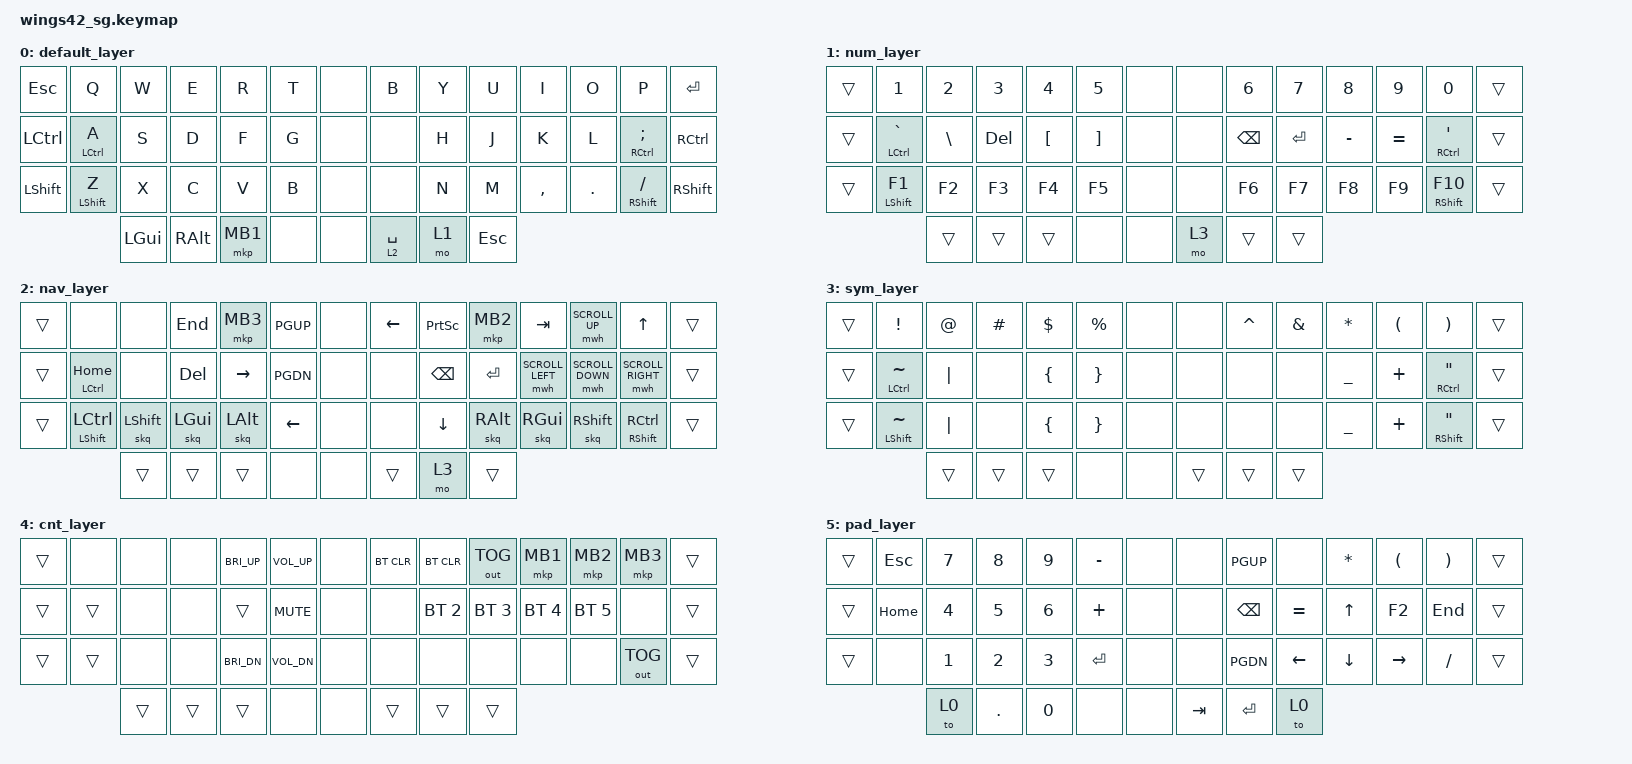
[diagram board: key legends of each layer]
/*
 * Copyright (c) 2022 The ZMK Contributors
 *
 * SPDX-License-Identifier: MIT
 */

#include <behaviors.dtsi>
#include <dt-bindings/zmk/keys.h>
#include <dt-bindings/zmk/bt.h>
#include <dt-bindings/zmk/mouse.h>
#include <dt-bindings/zmk/outputs.h>

&mwh {
	acceleration-exponent=<1>;
};

/ {
	behaviors {
		// lh_pht: left_hand_positional_hold_tap {
		//     compatible = "zmk,behavior-hold-tap";
		//     label = "LEFT_POSITIONAL_HOLD_TAP";
		//     #binding-cells = <2>;
		//     flavor = "tap-unless-interrupted";
		//     tapping-term-ms = <100>;                        // <---[[produces tap if held longer than tapping-term-ms]]
		//     quick-tap-ms = <200>;
		//     bindings = <&kp>, <&kp>;
		//     hold-trigger-key-positions = <5 6 7 8 9 10>;    // <---[[right-hand keys]]
		// };
		// hm: homerow_mods {
		// 	compatible = "zmk,behavior-hold-tap";
		// 	label = "HOMEROW_MODS";
		// 	#binding-cells = <2>;
		// 	tapping-term-ms = <150>;
		// 	quick-tap-ms = <0>;
		// 	flavor = "tap-preferred";
		// 	bindings = <&kp>, <&kp>;
		// };
		// hm: homerow_mods {
		// 	compatible = "zmk,behavior-hold-tap";
		// 	label = "ControlKeyHoldTap";
		// 	#binding-cells = <2>;
		// 	tapping-term-ms = <200>;
		// 	quick-tap-ms = <125>;
		// 	flavor = "tap-preferred";
		// 	bindings = <&kp>, <&kp>;
		// };
		hm: balanced_homerow_mods {
			compatible = "zmk,behavior-hold-tap";
			label = "HOMEROW_MODS";
			#binding-cells = <2>;
			tapping-term-ms = <1000>;    // <---[[moderate duration]]
			//quick-tap-ms = <125>;
			flavor = "balanced";
			bindings = <&kp>, <&kp>;
		};
		skq: sticky_key_quick_release {
			compatible = "zmk,behavior-sticky-key";
			label = "STICKY_KEY_QUICK_RELEASE";
			#binding-cells = <1>;
			bindings = <&kp>;
			release-after-ms = <1000>;
			quick-release;
		};
	};
	combos {
		compatible = "zmk,combos";
		// combo_mb2 {
		//  	timeout-ms = <50>;
		//  	key-positions = <3 4>;
		//  	bindings = <&mkp MB2>;
		// };
		// combo_lcontrol {
 		// 	timeout-ms = <100>;
 		// 	key-positions = <15 16>;
 		// 	bindings = <&kp LCTRL>;
 		// };
		// combo_mb1 {
		//  	timeout-ms = < 100>;
		//  	key-positions = <17 18>;
		//  	bindings = <&mkp MB1>;
		// };
		// combo_lshift {
		//  	timeout-ms = <100>;
		//  	key-positions = <29 30>;
		//  	bindings = <&kp LSHFT>;
		// };
		// combo_rshift {
		//  	timeout-ms = <100>;
		//  	key-positions = <39 40>;
		//  	bindings = <&kp RSHFT>;
		// };
	 	// combo_rcontrol {
	 	// 	timeout-ms = <100>;
	 	// 	key-positions = <25 26>;
	 	// 	bindings = <&kp RCTRL>;
	 	// };
	 	// combo_mb3 {
	 	// 	timeout-ms = <50>;
	 	// 	key-positions = <31 32>;
	 	// 	bindings = <&mkp MB3>;
	 	// };
		// combo_num {
		// 	timeout-ms = <50>;
		// 	key-positions = <31 32>;
		// 	bindings = <&mkp MB3>;
		// 	};
	 	// combo_LGUI {
	 	// 	timeout-ms = <100>;
	 	// 	key-positions = <42 43>;
	 	// 	bindings = <&kp LGUI>;
	 	// };
	 	combo_l5 {
	 		timeout-ms = <100>;
	 		key-positions = <47 49>;
	 		bindings = <&mo 4>;
	 	};
	 	// combo_lbtl {
	 	// 	timeout-ms = <100>;
	 	// 	key-positions = <42 43 44>;
	 	// 	bindings = <&bootloader>;
	 	// };
	 	combo_rbtl {
	 		timeout-ms = <100>;
	 		key-positions = <47 48 49>;
	 		bindings = <&bootloader>;
	 	};
	};
	keymap {
		compatible = "zmk,keymap";
		default_layer { /* Default */	/* 0 */
//	---------------------------------------------------------------------------------------------------------	---------------------------------------------------------------------------------------------------------
//	|	TAB	|	Q	|	W	|	E	|	R	|	T	|	|	|	|	Y	|	U	|	I	|	O	|	P |	[	|
//	|   CTRL+ESC	|	A	|	S	|	D	|	F	|	G	|	|	|	|	H	|	J	|	K	|	L	|	;	|	'	|
//	|   SHFT+ESC	|	Z	|	X	|	C	|	V	|	B	|	|	|   B	|	N	|	M	|	,	|	.	|	/	|  SHIFT+Enter	|
//	------------------------------------------------|       GUI	|       ALT	|	MB1	|-------	--------|   RET lower	|  SPACE raise	|    ESC super	|------------------------------------------------
//							-------------------------------------------------			-------------------------------------------------
			bindings = <
	&kp ESC		&kp Q		&kp W		&kp E		&kp R	 	&kp T		&none		&kp B	&kp Y		&kp U		&kp I		&kp O		&kp P		&kp RET
	&kp LCTRL	&hm LCTRL A	&kp S		&kp D		&kp F		&kp G		&none		&none	&kp H		&kp J		&kp K		&kp L		&hm RCTRL SEMI	&kp RCTRL
//	&kp LSHFT	&kp Z		&kp X		&kp C		&kp V		&kp B		&none		&none	&kp N		&kp M		&kp COMMA	&kp DOT		&kp FSLH	&kp RSHFT
	&kp LSHFT	&hm LSHFT Z	&kp X		&kp C		&kp V		&kp B		&none		&none	&kp N		&kp M		&kp COMMA	&kp DOT		&hm RSHFT FSLH	&kp RSHFT
//							&mt LSHFT TAB	&mt RCTRL ESC	&mkp MB1	&none		&none	&lt 2 SPACE	&lt 1 RET	&mt RALT ESC	
							&kp LGUI	&kp RALT	&mkp MB1	&none		&none	&lt 2 SPACE	&mo 1		&kp ESC
		>;
// Disable encoder 20220804 for measurement power consumption
//			sensor-bindings = <&inc_dec_kp UP DOWN>;
		};
	num_layer { /* number */	/* L1 */
			bindings = <
	&trans		&kp N1		&kp N2		&kp N3		&kp N4		&kp N5		&none		&none	&kp N6		&kp N7		&kp N8		&kp N9		&kp N0		&trans
//	&trans		&kp GRAVE	&kp BSLH	&kp DEL		&kp LBKT	&kp RBKT	&none		&none	&kp BSPC	&kp RET         &kp MINUS	&kp EQUAL	&kp SQT		&trans
	&trans		&hm LCTRL GRAVE	&kp BSLH	&kp DEL		&kp LBKT	&kp RBKT	&none		&none	&kp BSPC	&kp RET         &kp MINUS	&kp EQUAL	&hm RCTRL SQT	&trans
//	&trans		&kp F1		&kp F2		&kp F3		&kp F4		&kp F5		&none		&none	&kp F6		&kp F7		&kp F8		&kp F9		&kp F10		&trans
	&trans		&hm LSHFT F1	&kp F2		&kp F3		&kp F4		&kp F5		&none		&none	&kp F6		&kp F7		&kp F8		&kp F9		&hm RSHFT F10	&trans
							&trans		&trans		&trans		&none		&none	&mo 3		&trans		&trans
		>;
//			sensor-bindings = <&inc_dec_kp PAGE_UP PAGE_DOWN>;
		};
		nav_layer { /* Navigation */	/* L2 */
			bindings = <
	&trans		&none		&none		&kp END		&mkp MB3	&kp PGUP	&none		&kp LEFT &kp PSCRN	&mkp MB2	&kp TAB		&mwh SCROLL_UP	&kp UP		&trans
//	&trans		&kp HOME 	&none		&kp DEL		&kp RIGHT	&kp PGDN	&none		&none	&kp BSPC	&kp RET		&mwh SCROLL_LEFT &mwh SCROLL_DOWN &mwh SCROLL_RIGHT &trans	
	&trans		&hm LCTRL HOME 	&none		&kp DEL		&kp RIGHT	&kp PGDN	&none		&none	&kp BSPC	&kp RET		&mwh SCROLL_LEFT &mwh SCROLL_DOWN &mwh SCROLL_RIGHT &trans	
//	&trans		&skq LCTRL	&skq LSHFT	&skq LGUI	&skq LALT	&kp LEFT	&none		&none	&kp DOWN	&skq RALT 	&skq RGUI	&skq RSHFT	&skq RCTRL	&trans
	&trans		&hm LSHFT LCTRL	&skq LSHFT	&skq LGUI	&skq LALT	&kp LEFT	&none		&none	&kp DOWN	&skq RALT 	&skq RGUI	&skq RSHFT	&hm RSHFT RCTRL	&trans
						 	&trans		&trans		&trans		&none		&none	&trans		&mo 3		&trans
		>;
//			sensor-bindings = <&inc_dec_kp C_VOL_UP C_VOL_DN>;
		};
		sym_layer { /* Symbol */	/* L3 */
			bindings = <
	&trans		&kp EXCL	&kp AT		&kp HASH	&kp DLLR	&kp PRCNT	&none		&none	&kp CARET	&kp AMPS	&kp STAR	&kp LPAR	&kp RPAR	&trans
//	&trans		&kp GRAVE	&kp BSLH	&kp DEL		&kp LBKT	&kp RBKT	&none		&none	&kp BSPC	&kp RET		&kp MINUS	&kp EQUAL	&kp SQT		&trans
	&trans		&hm LCTRL TILDE	&kp PIPE	&none		&kp LBRC	&kp RBRC	&none		&none	&none		&none		&kp UNDER	&kp PLUS	&hm RCTRL DQT	&trans
//	&trans		&kp GRAVE	&kp BSLH	&kp DEL		&kp LBKT	&kp RBKT	&none		&none	&kp BSPC	&kp RET		&kp MINUS	&kp EQUAL	&kp SQT		&trans
	&trans		&hm LSHFT TILDE	&kp PIPE	&none		&kp LBRC	&kp RBRC	&none		&none	&none		&none		&kp UNDER	&kp PLUS	&hm RSHFT DQT	&trans
							&trans		&trans		&trans		&none		&none	&trans		&trans		&trans
		>;
//			sensor-bindings = <&inc_dec_kp C_VOL_UP C_VOL_DN>;
		};
		cnt_layer { /* Control */	/* L4 */
			bindings = <
	&trans		&none		&none		&none		&kp C_BRI_UP	&kp C_VOL_UP	&none		&bt BT_CLR &bt BT_CLR	&out OUT_TOG	&mkp MB1	&mkp MB2	&mkp MB3	&trans
	&trans		&trans		&none		&none		&trans		&kp C_MUTE	&none		&none	&bt BT_SEL 2	&bt BT_SEL 3	&bt BT_SEL 4	&bt BT_SEL 5	&none		&trans	
	&trans		&trans		&none		&none		&kp C_BRI_DN	&kp C_VOL_DN	&none		&none	&none		&none		&none		&none		&out OUT_TOG	&trans	
						 	&trans		&trans		&trans		&none		&none	&trans		&trans		&trans
		>;
//			sensor-bindings = <&inc_dec_kp C_VOL_UP C_VOL_DN>;
			
		};
		pad_layer { /* Num */		/* L5 */
//	---------------------------------------------------------------------------------------------------------	---------------------------------------------------------------------------------------------------------
//	|		|		|		|		|		|		|	|	|	|      TAB	|	7	|	8	|	9	|   BACK_SPACE	|		|
//	|		|		|		|		|		|		|	|	|	|	/	|	4	|	5	|	6	|	-	|		|
//	|		|		|		|		|		|		|	|	|	|	*	|	1	|	2	|	3	|	+	|		|
//	------------------------------------------------| DEFAULT LAYER	| DEFAULT LAYER	|		|--------	--------|     RETURN	|	0	|	.	|------------------------------------------------
//							-------------------------------------------------			-------------------------------------------------
			bindings = <
	&trans		&kp ESC		&kp N7		&kp N8		&kp N9		&kp MINUS	&none		&none	&kp PGUP	&none		&kp STAR	&kp LPAR	&kp RPAR	&trans	
	&trans		&kp HOME	&kp N4		&kp N5		&kp N6		&kp PLUS	&none		&none	&kp BSPC	&kp EQUAL	&kp UP		&kp F2		&kp END		&trans	
	&trans		&none		&kp N1		&kp N2		&kp N3		&kp RET		&none		&none	&kp PGDN	&kp LEFT	&kp DOWN	&kp RIGHT	&kp FSLH	&trans
						 	&to 0		&kp DOT		&kp N0		&none		&none	&kp TAB		&kp RET		&to 0
		>;
//			sensor-bindings = <&inc_dec_kp C_VOL_UP C_VOL_DN>;
		};
//		num_layer { /* Num */
//	---------------------------------------------------------------------------------------------------------	---------------------------------------------------------------------------------------------------------
//	|		|		|		|		|		|		|	|	|	|      TAB	|	7	|	8	|	9	|   BACK_SPACE	|		|
//	|		|		|		|		|		|		|	|	|	|	/	|	4	|	5	|	6	|	-	|		|
//	|		|		|		|		|		|		|	|	|	|	*	|	1	|	2	|	3	|	+	|		|
//	------------------------------------------------| DEFAULT LAYER	| DEFAULT LAYER	|		|--------	--------|     RETURN	|	0	|	.	|------------------------------------------------
//							-------------------------------------------------			-------------------------------------------------
//	 		bindings = <
//	 &none		&none		&none		&none		&kp C_BRI_UP	&kp C_VOL_UP	&none		&none	&kp TAB		&kp N7		&kp N8		&kp N9		&kp BSPC	&none	
//	 &trans		&trans		&none		&none		&trans		&kp C_MUTE	&none		&none	&kp SLASH	&kp N4		&kp N5		&kp N6		&kp MINUS	&none	
//	 &trans		&trans		&none		&none		&kp C_BRI_DN	&kp C_VOL_DN	&none		&none	&kp ASTERISK	&kp N1		&kp N2		&kp N3		&kp PLUS	&trans	
//	 					 	&to 0		&to 0		&trans		&none		&none	&kp RET		&kp N0		&kp DOT
//		>;
//			sensor-bindings = <&inc_dec_kp C_VOL_UP C_VOL_DN>;
//	 	};
	};
};
 
